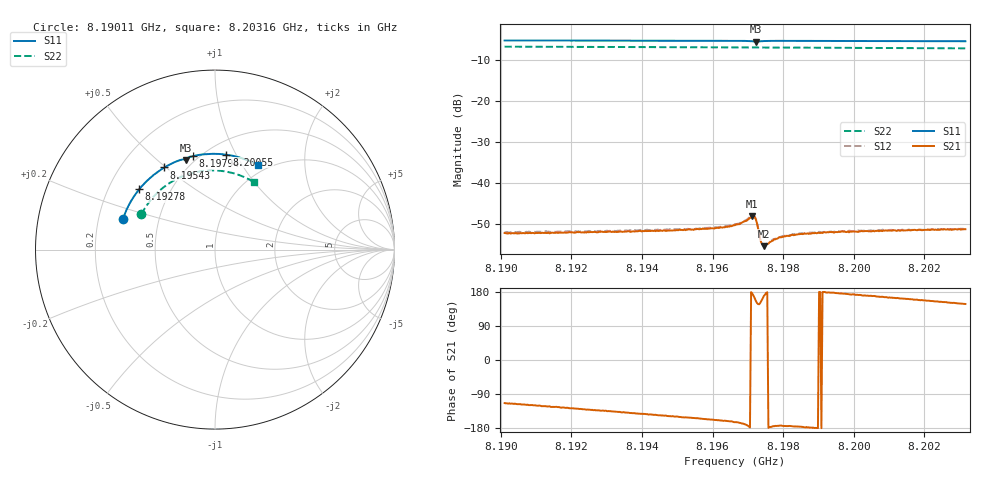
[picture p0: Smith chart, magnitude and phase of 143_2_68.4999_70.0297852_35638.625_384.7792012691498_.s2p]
#  HZ  S  RI  R  50.00
! Rohde & Schwarz Vector Network Analyzer
! Rohde-Schwarz,ZNB20-2Port,1311601062101988,3.16
! Created: UTC 3/20/2024, 4:54:57 PM
! freq[Hz]  re:S11  im:S11  re:S21  im:S21  re:S12  im:S12  re:S22  im:S22
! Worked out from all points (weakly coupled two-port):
!   401 points, 8.19011 GHz to 8.20316 GHz, reference 50 ohm
!   highest |S21| = -48.21 dB at 8.19712 GHz (marker M1); lowest = -55.5 dB at 8.19745 GHz (marker M2)
!   lowest |S11| = -5.6 dB at 8.19722 GHz (marker M3), VSWR 3.19, Z = 22.7 + j31.1 ohm
!   |S11| at or under -10 dB: nowhere
!   |S22| runs from -7.3 to -6.8 dB; largest |S21 - S12| = 0.00021
!   S11 on the Smith chart (normalised r, x): 8.19011 GHz: 0.31, +0.15; 8.19278 GHz: 0.33, +0.31; 8.19543 GHz: 0.38, +0.49; 8.19794 GHz: 0.47, +0.68; 8.20055 GHz: 0.62, +0.91; 8.20316 GHz: 0.90, +1.18
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8.190105e9  -0.513 0.1717  -0.000977 -0.00223  -0.00103 -0.00227  -0.4098 0.1965
8.192293e9  -0.4433 0.3081  -0.00157 -0.0019  -0.00169 -0.00192  -0.3409 0.2964
8.192782e9  -0.4224 0.3356  -0.00171 -0.00184  -0.00182 -0.00181  -0.3222 0.3159
8.19448e9  -0.3376 0.4195  -0.00214 -0.00144  -0.00222 -0.00139  -0.2479 0.374
8.195426e9  -0.2824 0.4574  -0.00239 -0.00122  -0.0025 -0.00115  -0.2016 0.3993
8.196112e9  -0.2396 0.4806  -0.00261 -0.00103  -0.00268 -0.000967  -0.1661 0.4141
8.196634e9  -0.2044 0.4955  -0.00291 -0.000833  -0.00303 -0.000743  -0.1383 0.4233
8.19683e9  -0.1903 0.4999  -0.00318 -0.000697  -0.00324 -0.000591  -0.1278 0.4262
8.197124e9  -0.1665 0.5012  -0.00387 0.000341  -0.0039 0.000491  -0.1116 0.4301
8.197189e9  -0.1632 0.4981  -0.00366 0.00106  -0.00368 0.00125  -0.1081 0.4308
8.197222e9  -0.1631 0.4968  -0.0033 0.00144  -0.0033 0.00157  -0.1063 0.4312
8.197352e9  -0.164 0.5019  -0.00175 0.000967  -0.00172 0.00107  -0.0993 0.4328
8.197385e9  -0.1624 0.5043  -0.00168 0.000727  -0.00169 0.000804  -0.0975 0.4332
8.19745e9  -0.1582 0.508  -0.00165 0.000325  -0.00168 0.000411  -0.094 0.434
8.197516e9  -0.1534 0.5108  -0.00175 0.000101  -0.00178 0.000176  -0.0904 0.4346
8.197711e9  -0.1389 0.5166  -0.00196 -0.000182  -0.00204 -4.91e-05  -0.0794 0.4365
8.19794e9  -0.1221 0.521  -0.00214 -0.000265  -0.0022 -0.000148  -0.0664 0.4381
8.198397e9  -0.0896 0.5274  -0.00233 -0.000183  -0.0024 -8.18e-05  -0.0409 0.4405
8.198821e9  -0.0594 0.5313  -0.00242 -5.9e-05  -0.00247 2.74e-05  -0.0166 0.4414
8.200551e9  0.0631 0.5289  -0.00253 0.000492  -0.00252 0.000646  0.0804 0.4311
8.201008e9  0.0949 0.5236  -0.00252 0.000663  -0.00253 0.0008  0.1057 0.4247
8.203163e9  0.238 0.4725  -0.00229 0.00144  -0.00228 0.0015  0.2181 0.3743
